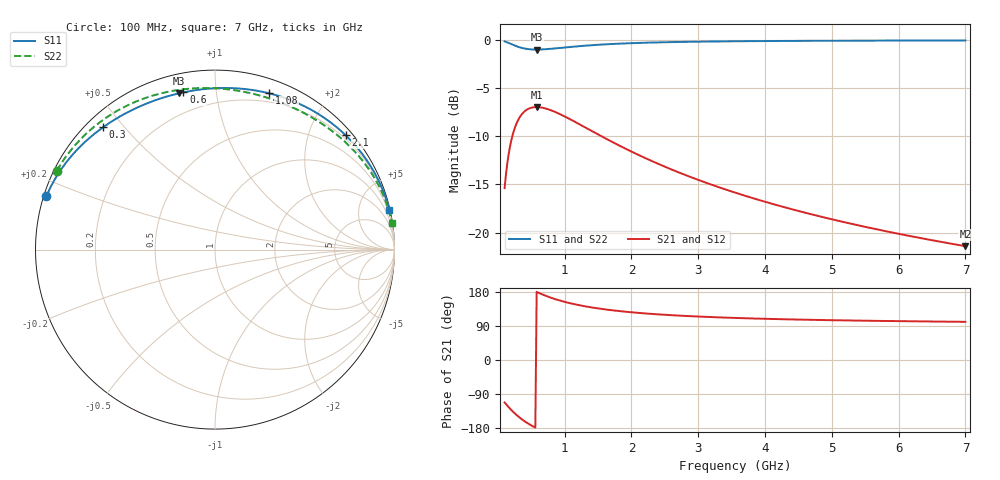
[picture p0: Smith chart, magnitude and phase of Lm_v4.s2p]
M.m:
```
% ¼ÆËãgmonÖÐcouplerµÄ»¥¸Ð
path = 'Lm_v4.s2p';


Z = zparameters(path);

f = Z.Frequencies;
Z21 = squeeze(Z.Parameters(2,1,:));
Mlist = -imag(Z21)/2/pi./f;
plot(f,Mlist);
Mc = imag(-Z21(end))/2/pi./f(end);
disp(['M=',num2str(Mc)]);
```
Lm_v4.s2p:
! Sonnet Data File
! From: em Version : 14.52
! From Project: Lm_v4
! Data is De-embedded
! Data File Written: 03/14/2018 23:18:41
!< HDATE 03/14/2018 23:10:57
!< MDATE 03/14/2018 23:10:57
# GHZ Z MA R 1.0
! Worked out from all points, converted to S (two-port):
!   346 points, 100 MHz to 7 GHz, reference 1 ohm
!   highest |S21| = -6.96 dB at 580 MHz (marker M1); lowest = -21.4 dB at 7 GHz (marker M2)
!   |S21| within 3 dB of the highest: 216.9 MHz to 1.541 GHz (1.324 GHz wide, 151 % of centre)
!   lowest |S11| = -1.0 dB at 580 MHz (marker M3), VSWR 17.78, Z = 0.0916 + j0.791 ohm
!   |S11| at or under -10 dB: nowhere
!   |S22| runs from -1.0 to 0.0 dB; largest |S21 - S12| = 2.8e-16
!   S11 on the Smith chart (normalised r, x): 100 MHz: 0.01, +0.16; 300 MHz: 0.05, +0.44; 600 MHz: 0.09, +0.81; 1.08 GHz: 0.12, +1.40; 2.1 GHz: 0.13, +2.66; 7 GHz: 0.14, +8.85
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0.1  0.1568 90.0  0.08911 -90.0  0.08911 -90.0  0.2365 90.0
!< P1 F=0.1 Eeff=(undefined: sl) Z0=(undefined: sl) R=0.0 C=0.0
!< P2 F=0.1 Eeff=(undefined: sl) Z0=(undefined: sl) R=0.0 C=0.0
0.2  0.3153 90.0  0.1782 -90.0  0.1782 -90.0  0.476 90.0
0.3  0.4738 90.0  0.2674 -90.0  0.2674 -90.0  0.7155 90.0
0.44  0.6956 90.0  0.3922 -90.0  0.3922 -90.0  1.051 90.0
0.58  0.9175 90.0  0.5171 -90.0  0.5171 -90.0  1.386 90.0
0.6  0.9492 90.0  0.5349 -90.0  0.5349 -90.0  1.434 90.0
1.08  1.71 90.0  0.9634 -90.0  0.9634 -90.0  2.584 90.0
1.54  2.44 90.0  1.375 -90.0  1.375 -90.0  3.687 90.0
2.1  3.33 90.0  1.878 -90.0  1.878 -90.0  5.031 90.0
3.56  5.662 90.0  3.202 -90.0  3.202 -90.0  8.554 90.0
7  11.29 90.0  6.466 -90.0  6.466 -90.0  17.04 90.0
